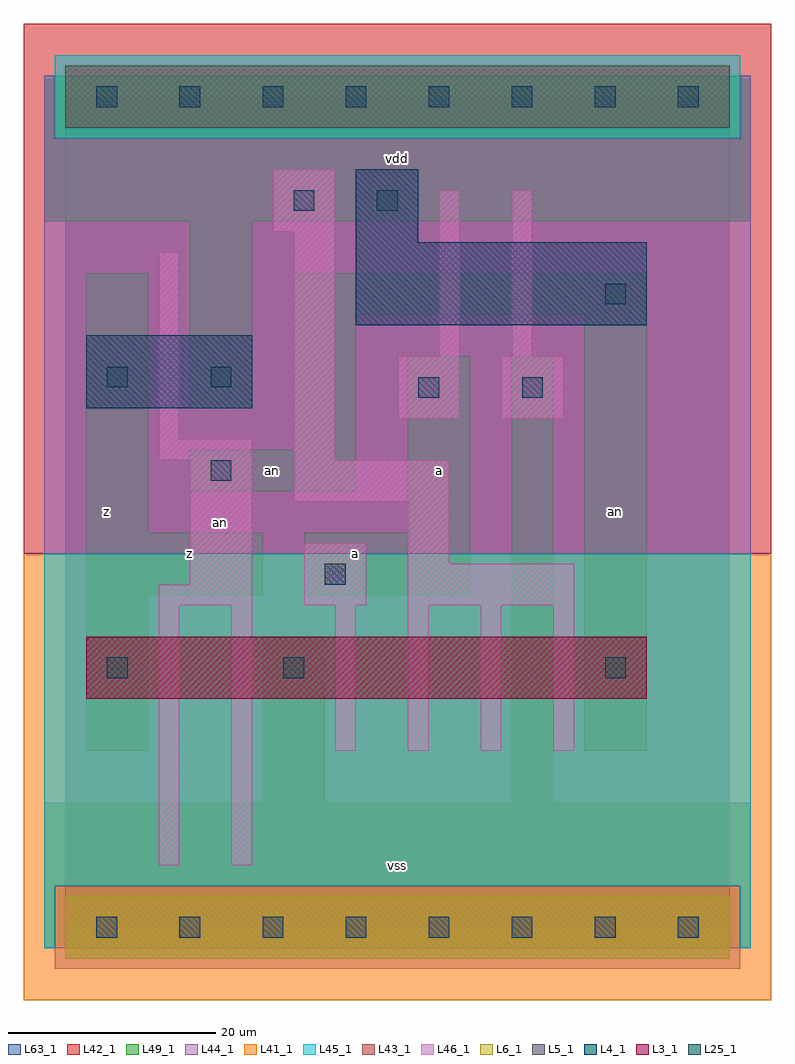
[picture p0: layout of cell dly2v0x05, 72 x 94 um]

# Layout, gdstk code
import gdstk
lib = gdstk.Library(unit=1e-6, precision=1e-09)
def R(c, l, rs):  # rectangles x0, y0, x1, y1
    for r in rs: c.add(gdstk.rectangle(r[:2], r[2:], *l))
def A(c, l, x, y, w, h, nx, ny, dx, dy):  # array of equal rectangles
    R(c, l, [(x+i*dx, y+j*dy, x+i*dx+w, y+j*dy+h) for i in range(nx) for j in range(ny)])
L3_1 = (3, 1)
L4_1 = (4, 1)
L5_1 = (5, 1)
L6_1 = (6, 1)
L25_1 = (25, 1)
L41_1 = (41, 1)
L42_1 = (42, 1)
L43_1 = (43, 1)
L44_1 = (44, 1)
L45_1 = (45, 1)
L46_1 = (46, 1)
L49_1 = (49, 1)
L63_1 = (63, 1)

dly2v0x05 = lib.new_cell('dly2v0x05')
R(dly2v0x05, L3_1, [(2,22,56,28)])
R(dly2v0x05, L4_1, [(2,50,18,57), (28,58,56,66), (28,66,34,73)])
R(dly2v0x05, L5_1, [(0,77,64,83)])
R(dly2v0x05, L6_1, [(0,-3,64,3), (0,-3,64,3)])
A(dly2v0x05, L25_1, 3, -1, 2, 2, 8, 2, 8, 80)
R(dly2v0x05, L25_1, [(4,24,6,26), (21,24,23,26), (52,24,54,26), (25,33,27,35), (14,43,16,45), (34,51,36,53), (44,51,46,53), (4,52,6,54), (14,52,16,54), (52,60,54,62), (22,69,24,71), (30,69,32,71)])
R(dly2v0x05, L41_1, [(-4,-7,68,36)])
R(dly2v0x05, L42_1, [(-4,36,68,87)])
R(dly2v0x05, L43_1, [(0,-3,64,3), (2,22,56,28), (2,50,18,57), (28,58,56,66), (28,66,34,73), (0,77,64,83)])
R(dly2v0x05, L44_1, [(-1,-4,65,4), (-2,36,66,76), (-2,76,-1,82), (65,76,66,82)])
R(dly2v0x05, L45_1, [(-2,-2,-1,4), (65,-2,66,4), (-2,4,66,36), (-1,76,65,84)])
A(dly2v0x05, L46_1, 26, 17, 2, 14, 4, 1, 7, 0)
R(dly2v0x05, L46_1, [(9,6,11,31), (16,6,18,31), (9,31,18,33), (23,31,29,37), (33,31,49,35), (12,33,18,45), (33,35,37,41), (22,41,37,45), (9,45,18,47), (22,45,26,67), (9,47,11,65), (32,49,38,55), (42,49,48,55), (36,55,38,71), (43,55,45,71), (20,67,26,73)])
R(dly2v0x05, L49_1, [(-2,-2,66,12), (19,12,25,28), (43,12,47,55), (2,17,8,32), (50,17,56,59), (2,32,19,38), (23,32,39,38), (2,38,8,63), (33,38,39,55), (12,42,28,46), (22,46,28,59), (12,50,18,68), (22,59,56,63), (-2,68,66,82)])
R(dly2v0x05, L63_1, [(0,0,64,80)])
dly2v0x05.add(gdstk.Label('an', (15,39), layer=46, texttype=1))
dly2v0x05.add(gdstk.Label('z', (12,36), layer=49, texttype=1))
dly2v0x05.add(gdstk.Label('z', (4,40), layer=49, texttype=1))
dly2v0x05.add(gdstk.Label('a', (28,36), layer=49, texttype=1))
dly2v0x05.add(gdstk.Label('an', (20,44), layer=49, texttype=1))
dly2v0x05.add(gdstk.Label('vss', (32,6), layer=49, texttype=1))
dly2v0x05.add(gdstk.Label('a', (36,44), layer=49, texttype=1))
dly2v0x05.add(gdstk.Label('vdd', (32,74), layer=49, texttype=1))
dly2v0x05.add(gdstk.Label('an', (53,40), layer=49, texttype=1))

lib.write_gds('dly2v0x05.gds')
